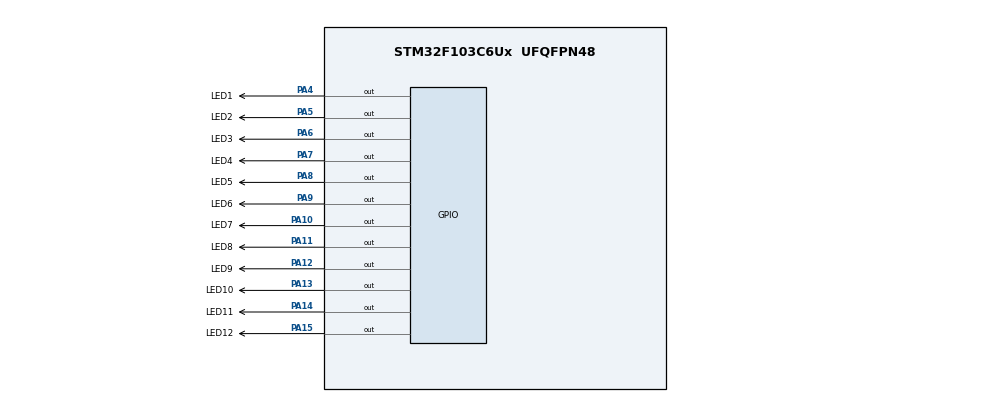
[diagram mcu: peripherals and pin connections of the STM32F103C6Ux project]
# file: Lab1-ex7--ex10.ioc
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Mcu.Family=STM32F1
Mcu.Name=STM32F103C6Ux
Mcu.Package=UFQFPN48
NVIC.PriorityGroup=NVIC_PRIORITYGROUP_4
PA10.GPIO_Label=LED7
PA10.Signal=GPIO_Output
PA11.GPIO_Label=LED8
PA11.Signal=GPIO_Output
PA12.GPIO_Label=LED9
PA12.Signal=GPIO_Output
PA13.GPIO_Label=LED10
PA13.Signal=GPIO_Output
PA14.GPIO_Label=LED11
PA14.Signal=GPIO_Output
PA15.GPIO_Label=LED12
PA15.Signal=GPIO_Output
PA4.GPIO_Label=LED1
PA4.Signal=GPIO_Output
PA5.GPIO_Label=LED2
PA5.Signal=GPIO_Output
PA6.GPIO_Label=LED3
PA6.Signal=GPIO_Output
PA7.GPIO_Label=LED4
PA7.Signal=GPIO_Output
PA8.GPIO_Label=LED5
PA8.Signal=GPIO_Output
PA9.GPIO_Label=LED6
PA9.Signal=GPIO_Output
ProjectManager.HeapSize=0x200
ProjectManager.StackSize=0x400
ProjectManager.TargetToolchain=STM32CubeIDE
RCC.APB1Freq_Value=8000000
RCC.APB2Freq_Value=8000000
VP_SYS_VS_ND.Mode=No_Debug
board=custom

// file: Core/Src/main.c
/* USER CODE BEGIN Header */
/**
  ******************************************************************************
  * @file           : main.c
  * @brief          : Main program body
  ******************************************************************************
  * @attention
  *
  * <h2><center>&copy; Copyright (c) 2025 STMicroelectronics.
  * All rights reserved.</center></h2>
  *
  * This software component is licensed by ST under BSD 3-Clause license,
  * the "License"; You may not use this file except in compliance with the
  * License. You may obtain a copy of the License at:
  *                        opensource.org/licenses/BSD-3-Clause
  *
  ******************************************************************************
  */
/* USER CODE END Header */
#include "main.h"

void SystemClock_Config(void);
static void MX_GPIO_Init(void);

/* USER CODE BEGIN 0 */
const uint16_t led[12] = {
      GPIO_PIN_4, GPIO_PIN_5, GPIO_PIN_6, GPIO_PIN_7,
      GPIO_PIN_8, GPIO_PIN_9, GPIO_PIN_10, GPIO_PIN_11,
      GPIO_PIN_12, GPIO_PIN_13, GPIO_PIN_14, GPIO_PIN_15
};
void clearAllClock() {
	// We can combine all 12 pins into a single command using the bitwise OR operator '|'
	// This is much more efficient than writing 12 separate lines.
	uint16_t all_led = GPIO_PIN_4|GPIO_PIN_5|GPIO_PIN_6|
					 GPIO_PIN_7|GPIO_PIN_8|GPIO_PIN_9|
					 GPIO_PIN_10|GPIO_PIN_11|GPIO_PIN_12|
					 GPIO_PIN_13|GPIO_PIN_14|GPIO_PIN_15;

	// Turn off all led
	HAL_GPIO_WritePin(GPIOA, all_led, GPIO_PIN_SET);
}

void setNumberOnClock(int num) {
	HAL_GPIO_WritePin(GPIOA, led[num], GPIO_PIN_RESET); // to turn on
}

void clearNumberOnClock(int num) {
	HAL_GPIO_WritePin(GPIOA, led[num], GPIO_PIN_SET); // to turn off
}
/* USER CODE END 0 */

int main(void)
{

  /* MCU Configuration--------------------------------------------------------*/

  /* Reset of all peripherals, Initializes the Flash interface and the Systick. */
  HAL_Init();

  /* Configure the system clock */
  SystemClock_Config();

  /* Initialize all configured peripherals */
  MX_GPIO_Init();

  /* Infinite loop */
  /* USER CODE BEGIN WHILE */

  for (int i = 0; i < 12; i++) {
	  HAL_GPIO_WritePin(GPIOA, led[i], GPIO_PIN_SET);
  }

  int hour = 0;
  int minute = 0;
  int count_s = 0;
  int second = 0;
  int s = 0;

  while (1)
  {
	s++;
	if (s >= 5) {
		s = 0;
		second++;
		if (second >= 12) {
			second = 0;
			count_s++;
			if (count_s >= 5) {
				count_s = 0;
				minute++;
				if (minute >= 12) {
					minute = 0;
					hour++;
					if (hour >= 12) {
						hour = 0;
					}
				}
			}
		}
	}

	clearAllClock();

	setNumberOnClock(hour);
	setNumberOnClock(minute);
	setNumberOnClock(second);

	HAL_Delay(4);
  }

}

void SystemClock_Config(void)
{
  RCC_OscInitTypeDef RCC_OscInitStruct = {0};
  RCC_ClkInitTypeDef RCC_ClkInitStruct = {0};

  /** Initializes the RCC Oscillators according to the specified parameters
  * in the RCC_OscInitTypeDef structure.
  */
  RCC_OscInitStruct.OscillatorType = RCC_OSCILLATORTYPE_HSI;
  RCC_OscInitStruct.HSIState = RCC_HSI_ON;
  RCC_OscInitStruct.HSICalibrationValue = RCC_HSICALIBRATION_DEFAULT;
  RCC_OscInitStruct.PLL.PLLState = RCC_PLL_NONE;
  if (HAL_RCC_OscConfig(&RCC_OscInitStruct) != HAL_OK)
  {
    Error_Handler();
  }
  /** Initializes the CPU, AHB and APB buses clocks
  */
  RCC_ClkInitStruct.ClockType = RCC_CLOCKTYPE_HCLK|RCC_CLOCKTYPE_SYSCLK
                              |RCC_CLOCKTYPE_PCLK1|RCC_CLOCKTYPE_PCLK2;
  RCC_ClkInitStruct.SYSCLKSource = RCC_SYSCLKSOURCE_HSI;
  RCC_ClkInitStruct.AHBCLKDivider = RCC_SYSCLK_DIV1;
  RCC_ClkInitStruct.APB1CLKDivider = RCC_HCLK_DIV1;
  RCC_ClkInitStruct.APB2CLKDivider = RCC_HCLK_DIV1;

  if (HAL_RCC_ClockConfig(&RCC_ClkInitStruct, FLASH_LATENCY_0) != HAL_OK)
  {
    Error_Handler();
  }
}

static void MX_GPIO_Init(void)
{
  GPIO_InitTypeDef GPIO_InitStruct = {0};

  /* GPIO Ports Clock Enable */
  __HAL_RCC_GPIOA_CLK_ENABLE();

  /*Configure GPIO pin Output Level */
  HAL_GPIO_WritePin(GPIOA, LED1_Pin|LED2_Pin|LED3_Pin|LED4_Pin
                          |LED5_Pin|LED6_Pin|LED7_Pin|LED8_Pin
                          |LED9_Pin|LED10_Pin|LED11_Pin|LED12_Pin, GPIO_PIN_RESET);

  /*Configure GPIO pins : LED1_Pin LED2_Pin LED3_Pin LED4_Pin
                           LED5_Pin LED6_Pin LED7_Pin LED8_Pin
                           LED9_Pin LED10_Pin LED11_Pin LED12_Pin */
  GPIO_InitStruct.Pin = LED1_Pin|LED2_Pin|LED3_Pin|LED4_Pin
                          |LED5_Pin|LED6_Pin|LED7_Pin|LED8_Pin
                          |LED9_Pin|LED10_Pin|LED11_Pin|LED12_Pin;
  GPIO_InitStruct.Mode = GPIO_MODE_OUTPUT_PP;
  GPIO_InitStruct.Pull = GPIO_NOPULL;
  GPIO_InitStruct.Speed = GPIO_SPEED_FREQ_LOW;
  HAL_GPIO_Init(GPIOA, &GPIO_InitStruct);

}

void Error_Handler(void)
{
  __disable_irq();
  while (1)
  {
  }
}

/************************ (C) COPYRIGHT STMicroelectronics *****END OF FILE****/
